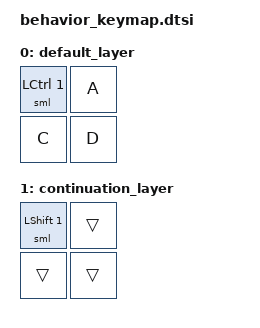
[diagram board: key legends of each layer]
#include <dt-bindings/zmk/keys.h>
#include <behaviors.dtsi>
#include <dt-bindings/zmk/kscan_mock.h>

/ {
    behaviors {
        sml: sticky_mod_layer {
            compatible = "zmk,behavior-sticky-mod-layer";
            #binding-cells = <2>;
            release-after-ms = <250>;
            quick-release;
            ignore-modifiers;
            bindings = <&kp>;
        };
    };

    keymap {
        compatible = "zmk,keymap";

        default_layer {
            bindings = <
                &sml LCTRL 1  &kp A
                &kp C         &kp D
            >;
        };

        continuation_layer {
            bindings = <
                &sml LSHFT 1  &trans
                &trans        &trans
            >;
        };
    };
};
